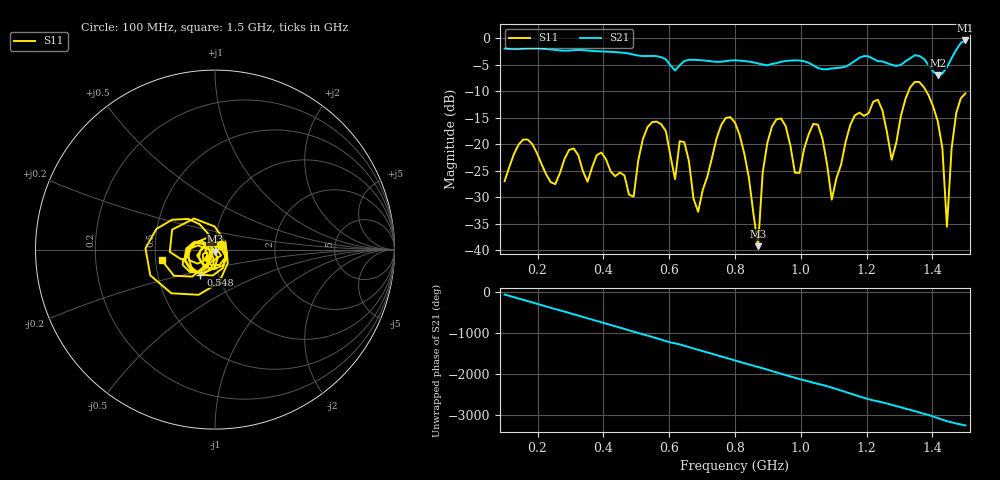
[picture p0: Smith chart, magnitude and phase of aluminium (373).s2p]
! NanoVNA-App
! Date: 2025-09-25 14:58:11
! Start: 100MHz Stop: 1,5GHz Points: 101
! S-Parameter data: F S11 S21 S12 S22
# Hz S RI R 50
!  Frequency  S11_Real  S11_Imag  S21_Real  S21_Imag  S12_Real  S12_Imag  S22_Real  S22_Imag
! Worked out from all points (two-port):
!   101 points, 100 MHz to 1.5 GHz, reference 50 ohm
!   highest |S21| = -0.39 dB at 1.5 GHz (marker M1); lowest = -7.0 dB at 1.416 GHz (marker M2)
!   |S21| within 3 dB of the highest: start of sweep to 564.9 MHz; 1.461 GHz to end of sweep (the widest 2 of 4)
!   lowest |S11| = -39.2 dB at 870 MHz (marker M3), VSWR 1.02, Z = 50.2 - j1.08 ohm
!   |S11| at or under -10 dB: start of sweep to 1.327 GHz; 1.381 GHz to end of sweep
!   S12 and S22 are empty: the file has one direction only
!   S11 on the Smith chart (normalised r, x): 100 MHz: 1.07, +0.06; 548 MHz: 0.82, -0.23; 1.5 GHz: 0.54, -0.07
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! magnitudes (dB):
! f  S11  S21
! 100 MHz  -27.0  -1.9
! 156 MHz  -19.1  -2.0
! 338 MHz  -25.1  -2.2
! 492 MHz  -29.9  -3.1
! 548 MHz  -15.8  -3.3
! 576 MHz  -16.2  -3.6
! 618 MHz  -26.6  -6.1
! 646 MHz  -19.6  -4.3
! 688 MHz  -32.7  -4.1
! 800 MHz  -15.9  -4.1
! 870 MHz  -39.2  -4.7
! 912 MHz  -16.7  -4.8
! 996 MHz  -25.4  -4.2
! 1.038 GHz  -16.1  -5.1
! 1.094 GHz  -30.4  -5.7
! 1.22 GHz  -12.0  -3.9
! 1.276 GHz  -22.9  -5.0
! 1.346 GHz  -8.2  -3.2
! 1.416 GHz  -15.6  -7.0
! 1.444 GHz  -35.6  -5.4
! 1.472 GHz  -14.1  -2.2
! 1.5 GHz  -10.4  -0.4
